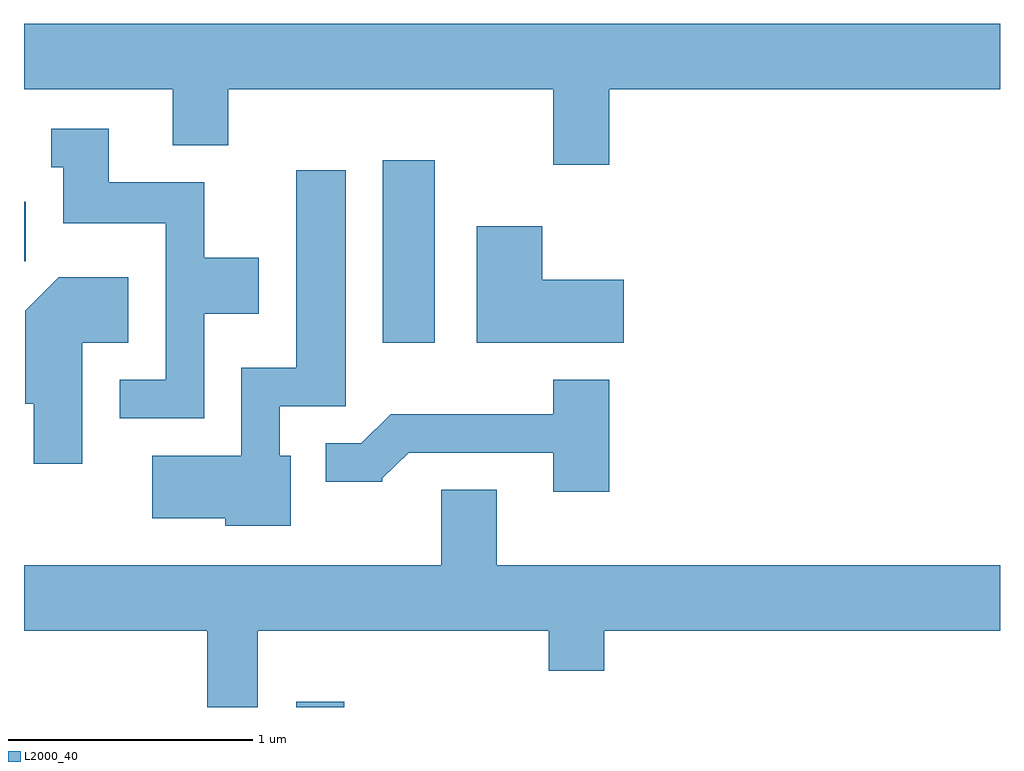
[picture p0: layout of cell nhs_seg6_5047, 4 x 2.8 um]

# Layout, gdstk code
import gdstk
lib = gdstk.Library(unit=1e-6, precision=1e-09)
def R(c, l, rs):  # rectangles x0, y0, x1, y1
    for r in rs: c.add(gdstk.rectangle(r[:2], r[2:], *l))
def P(c, l, *ps):  # polygons
    for p in ps: c.add(gdstk.Polygon(p, *l))
L2000_40 = (2000, 40)

nhs_seg6_5047 = lib.new_cell('nhs_seg6_5047')
R(nhs_seg6_5047, L2000_40, [(340.726,1554.162,340.924,1554.184), (341.081,1555.656,341.294,1556.404), (339.611,1555.991,339.619,1556.234)])
P(nhs_seg6_5047, L2000_40, [(339.611,1556.696),(340.221,1556.696),(340.221,1556.466),(340.449,1556.466),(340.449,1556.696),(341.781,1556.696),(341.781,1556.386),(342.009,1556.386),(342.009,1556.696),(343.611,1556.696),(343.611,1556.964),(339.611,1556.964)],
  [(340.349,1555.776),(340.574,1555.776),(340.574,1556.004),(340.349,1556.004),(340.349,1556.314),(339.959,1556.314),(339.959,1556.534),(339.723,1556.534),(339.723,1556.376),(339.771,1556.376),(339.771,1556.146),(340.191,1556.146),(340.191,1555.504),(340.003,1555.504),(340.003,1555.346),(340.349,1555.346)],
  [(340.704,1555.194),(340.659,1555.194),(340.659,1555.396),(340.929,1555.396),(340.929,1556.364),(340.726,1556.364),(340.726,1555.554),(340.501,1555.554),(340.501,1555.194),(340.136,1555.194),(340.136,1554.936),(340.436,1554.936),(340.436,1554.906),(340.704,1554.906)],
  [(342.069,1555.914),(341.734,1555.914),(341.734,1556.134),(341.466,1556.134),(341.466,1555.656),(342.069,1555.656)],
  [(339.849,1555.656),(340.039,1555.656),(340.039,1555.924),(339.754,1555.924),(339.616,1555.787),(339.616,1555.406),(339.651,1555.406),(339.651,1555.161),(339.849,1555.161)],
  [(342.009,1555.504),(341.781,1555.504),(341.781,1555.364),(341.114,1555.364),(340.994,1555.244),(340.848,1555.244),(340.848,1555.086),(341.08,1555.086),(341.08,1555.1),(341.187,1555.206),(341.781,1555.206),(341.781,1555.046),(342.009,1555.046)],
  [(340.569,1554.476),(341.761,1554.476),(341.761,1554.311),(341.989,1554.311),(341.989,1554.476),(343.611,1554.476),(343.611,1554.744),(341.549,1554.744),(341.549,1555.054),(341.321,1555.054),(341.321,1554.744),(339.611,1554.744),(339.611,1554.476),(340.361,1554.476),(340.361,1554.162),(340.569,1554.162)])

lib.write_gds('nhs_seg6_5047.gds')
